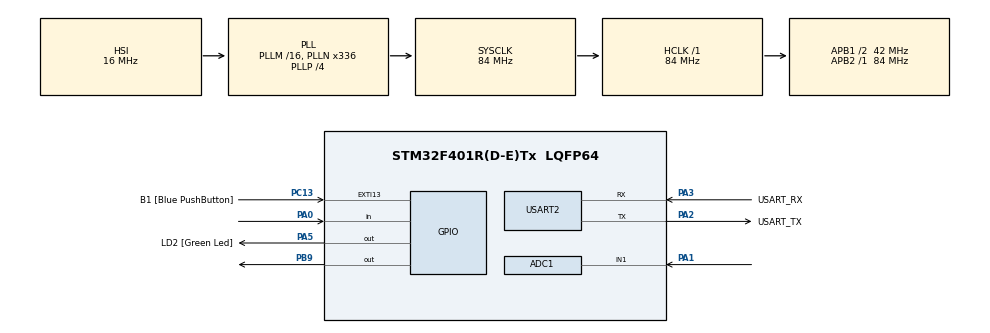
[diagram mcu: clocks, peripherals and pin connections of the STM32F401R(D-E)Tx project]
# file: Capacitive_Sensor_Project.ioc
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ADC1.Channel-0\#ChannelRegularConversion=ADC_CHANNEL_1
ADC1.NbrOfConversionFlag=1
ADC1.Rank-0\#ChannelRegularConversion=1
ADC1.SamplingTime-0\#ChannelRegularConversion=ADC_SAMPLETIME_3CYCLES
ADC1.master=1
Mcu.Family=STM32F4
Mcu.Name=STM32F401R(D-E)Tx
Mcu.Package=LQFP64
NVIC.PriorityGroup=NVIC_PRIORITYGROUP_0
PA0-WKUP.Signal=GPIO_Input
PA1.Signal=ADCx_IN1
PA13.GPIO_Label=TMS
PA13.Mode=Serial_Wire
PA13.Signal=SYS_JTMS-SWDIO
PA14.GPIO_Label=TCK
PA14.Mode=Serial_Wire
PA14.Signal=SYS_JTCK-SWCLK
PA2.GPIO_Label=USART_TX
PA2.GPIO_Mode=GPIO_MODE_AF_PP
PA2.GPIO_PuPd=GPIO_NOPULL
PA2.GPIO_Speed=GPIO_SPEED_FREQ_LOW
PA2.Mode=Asynchronous
PA2.Signal=USART2_TX
PA3.GPIO_Label=USART_RX
PA3.GPIO_Mode=GPIO_MODE_AF_PP
PA3.GPIO_PuPd=GPIO_NOPULL
PA3.GPIO_Speed=GPIO_SPEED_FREQ_LOW
PA3.Mode=Asynchronous
PA3.Signal=USART2_RX
PA5.GPIO_Label=LD2 [Green Led]
PA5.GPIO_Mode=GPIO_MODE_OUTPUT_PP
PA5.GPIO_PuPd=GPIO_NOPULL
PA5.GPIO_Speed=GPIO_SPEED_FREQ_LOW
PA5.Signal=GPIO_Output
PB3.GPIO_Label=SWO
PB3.Signal=SYS_JTDO-SWO
PB9.Signal=GPIO_Output
PC13-ANTI_TAMP.GPIO_Label=B1 [Blue PushButton]
PC13-ANTI_TAMP.GPIO_ModeDefaultEXTI=GPIO_MODE_IT_FALLING
PC13-ANTI_TAMP.GPIO_PuPd=GPIO_NOPULL
PC13-ANTI_TAMP.Signal=GPXTI13
PC14-OSC32_IN.Mode=LSE-External-Oscillator
PC14-OSC32_IN.Signal=RCC_OSC32_IN
PC15-OSC32_OUT.Mode=LSE-External-Oscillator
PC15-OSC32_OUT.Signal=RCC_OSC32_OUT
PH0\ -\ OSC_IN.Mode=HSE-External-Clock-Source
PH0\ -\ OSC_IN.Signal=RCC_OSC_IN
PH1\ -\ OSC_OUT.Mode=HSE-External-Clock-Source
PH1\ -\ OSC_OUT.Signal=RCC_OSC_OUT
ProjectManager.HeapSize=0x200
ProjectManager.StackSize=0x400
ProjectManager.TargetToolchain=STM32CubeIDE
RCC.48MHZClocksFreq_Value=48000000
RCC.AHBFreq_Value=84000000
RCC.APB1CLKDivider=RCC_HCLK_DIV2
RCC.APB1Freq_Value=42000000
RCC.APB1TimFreq_Value=84000000
RCC.APB2Freq_Value=84000000
RCC.APB2TimFreq_Value=84000000
RCC.CortexFreq_Value=84000000
RCC.HCLKFreq_Value=84000000
RCC.HSE_VALUE=8000000
RCC.HSI_VALUE=16000000
RCC.PLLN=336
RCC.PLLP=RCC_PLLP_DIV4
RCC.PLLQ=7
RCC.SYSCLKFreq_VALUE=84000000
RCC.SYSCLKSource=RCC_SYSCLKSOURCE_PLLCLK
RCC.VCOOutputFreq_Value=336000000
SH.ADCx_IN1.0=ADC1_IN1,IN1
USART2.VirtualMode=VM_ASYNC
board=NUCLEO-F401RE

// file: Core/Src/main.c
/* USER CODE BEGIN Header */
/**
  ******************************************************************************
  * @file           : main.c
  * @brief          : Main program body
  ******************************************************************************
  * @attention
  *
  * Copyright (c) 2025 STMicroelectronics.
  * All rights reserved.
  *
  * This software is licensed under terms that can be found in the LICENSE file
  * in the root directory of this software component.
  * If no LICENSE file comes with this software, it is provided AS-IS.
  *
  ******************************************************************************
  */
/* USER CODE END Header */
#include "main.h"
#include <math.h>
#include <stdio.h>

ADC_HandleTypeDef hadc1;

UART_HandleTypeDef huart2;

/* USER CODE BEGIN PV */
#define V_REF 3.3
#define ADC_MAX 4095.0
#define R_DISCHARGE 1000000.0  // 1MΩ
#define CHARGE_TIME 500  // Charge time in microseconds
/* USER CODE END PV */

void SystemClock_Config(void);
static void MX_GPIO_Init(void);
static void MX_USART2_UART_Init(void);
static void MX_ADC1_Init(void);
/* USER CODE BEGIN PFP */
//void capacitive_input(void);
double get_adc_voltage();
double measure_capacitance();

/* USER CODE END PFP */

int main(void)
{

  /* MCU Configuration--------------------------------------------------------*/

  /* Reset of all peripherals, Initializes the Flash interface and the Systick. */
  HAL_Init();

  /* Configure the system clock */
  SystemClock_Config();

  /* Initialize all configured peripherals */
  MX_GPIO_Init();
  MX_USART2_UART_Init();
  MX_ADC1_Init();

  /* Infinite loop */
  while (1)
  {
	    double capacitance = measure_capacitance();

	    // Print capacitance
//	    50 * pow(10, -12.0)
	    if (capacitance > 1){
	        HAL_GPIO_WritePin(GPIOB, GPIO_PIN_9, GPIO_PIN_SET);
	    } else {
	        HAL_GPIO_WritePin(GPIOB, GPIO_PIN_9, GPIO_PIN_RESET);
	    }

	    HAL_Delay(500);
  }
}

void SystemClock_Config(void)
{
  RCC_OscInitTypeDef RCC_OscInitStruct = {0};
  RCC_ClkInitTypeDef RCC_ClkInitStruct = {0};

  /** Configure the main internal regulator output voltage
  */
  __HAL_RCC_PWR_CLK_ENABLE();
  __HAL_PWR_VOLTAGESCALING_CONFIG(PWR_REGULATOR_VOLTAGE_SCALE2);

  /** Initializes the RCC Oscillators according to the specified parameters
  * in the RCC_OscInitTypeDef structure.
  */
  RCC_OscInitStruct.OscillatorType = RCC_OSCILLATORTYPE_HSI;
  RCC_OscInitStruct.HSIState = RCC_HSI_ON;
  RCC_OscInitStruct.HSICalibrationValue = RCC_HSICALIBRATION_DEFAULT;
  RCC_OscInitStruct.PLL.PLLState = RCC_PLL_ON;
  RCC_OscInitStruct.PLL.PLLSource = RCC_PLLSOURCE_HSI;
  RCC_OscInitStruct.PLL.PLLM = 16;
  RCC_OscInitStruct.PLL.PLLN = 336;
  RCC_OscInitStruct.PLL.PLLP = RCC_PLLP_DIV4;
  RCC_OscInitStruct.PLL.PLLQ = 7;
  if (HAL_RCC_OscConfig(&RCC_OscInitStruct) != HAL_OK)
  {
    Error_Handler();
  }

  /** Initializes the CPU, AHB and APB buses clocks
  */
  RCC_ClkInitStruct.ClockType = RCC_CLOCKTYPE_HCLK|RCC_CLOCKTYPE_SYSCLK
                              |RCC_CLOCKTYPE_PCLK1|RCC_CLOCKTYPE_PCLK2;
  RCC_ClkInitStruct.SYSCLKSource = RCC_SYSCLKSOURCE_PLLCLK;
  RCC_ClkInitStruct.AHBCLKDivider = RCC_SYSCLK_DIV1;
  RCC_ClkInitStruct.APB1CLKDivider = RCC_HCLK_DIV2;
  RCC_ClkInitStruct.APB2CLKDivider = RCC_HCLK_DIV1;

  if (HAL_RCC_ClockConfig(&RCC_ClkInitStruct, FLASH_LATENCY_2) != HAL_OK)
  {
    Error_Handler();
  }
}

static void MX_ADC1_Init(void)
{

  ADC_ChannelConfTypeDef sConfig = {0};

  /** Configure the global features of the ADC (Clock, Resolution, Data Alignment and number of conversion)
  */
  hadc1.Instance = ADC1;
  hadc1.Init.ClockPrescaler = ADC_CLOCK_SYNC_PCLK_DIV4;
  hadc1.Init.Resolution = ADC_RESOLUTION_12B;
  hadc1.Init.ScanConvMode = DISABLE;
  hadc1.Init.ContinuousConvMode = DISABLE;
  hadc1.Init.DiscontinuousConvMode = DISABLE;
  hadc1.Init.ExternalTrigConvEdge = ADC_EXTERNALTRIGCONVEDGE_NONE;
  hadc1.Init.ExternalTrigConv = ADC_SOFTWARE_START;
  hadc1.Init.DataAlign = ADC_DATAALIGN_RIGHT;
  hadc1.Init.NbrOfConversion = 1;
  hadc1.Init.DMAContinuousRequests = DISABLE;
  hadc1.Init.EOCSelection = ADC_EOC_SINGLE_CONV;
  if (HAL_ADC_Init(&hadc1) != HAL_OK)
  {
    Error_Handler();
  }

  /** Configure for the selected ADC regular channel its corresponding rank in the sequencer and its sample time.
  */
  sConfig.Channel = ADC_CHANNEL_1;
  sConfig.Rank = 1;
  sConfig.SamplingTime = ADC_SAMPLETIME_3CYCLES;
  if (HAL_ADC_ConfigChannel(&hadc1, &sConfig) != HAL_OK)
  {
    Error_Handler();
  }

}

static void MX_USART2_UART_Init(void)
{

  huart2.Instance = USART2;
  huart2.Init.BaudRate = 115200;
  huart2.Init.WordLength = UART_WORDLENGTH_8B;
  huart2.Init.StopBits = UART_STOPBITS_1;
  huart2.Init.Parity = UART_PARITY_NONE;
  huart2.Init.Mode = UART_MODE_TX_RX;
  huart2.Init.HwFlowCtl = UART_HWCONTROL_NONE;
  huart2.Init.OverSampling = UART_OVERSAMPLING_16;
  if (HAL_UART_Init(&huart2) != HAL_OK)
  {
    Error_Handler();
  }

}

static void MX_GPIO_Init(void)
{
  GPIO_InitTypeDef GPIO_InitStruct = {0};

  /* GPIO Ports Clock Enable */
  __HAL_RCC_GPIOC_CLK_ENABLE();
  __HAL_RCC_GPIOH_CLK_ENABLE();
  __HAL_RCC_GPIOA_CLK_ENABLE();
  __HAL_RCC_GPIOB_CLK_ENABLE();

  /*Configure GPIO pin Output Level */
  HAL_GPIO_WritePin(LD2_GPIO_Port, LD2_Pin, GPIO_PIN_RESET);

  /*Configure GPIO pin Output Level */
  HAL_GPIO_WritePin(GPIOB, GPIO_PIN_9, GPIO_PIN_RESET);

  /*Configure GPIO pin : B1_Pin */
  GPIO_InitStruct.Pin = B1_Pin;
  GPIO_InitStruct.Mode = GPIO_MODE_IT_FALLING;
  GPIO_InitStruct.Pull = GPIO_NOPULL;
  HAL_GPIO_Init(B1_GPIO_Port, &GPIO_InitStruct);

  /*Configure GPIO pin : PA0 */
  GPIO_InitStruct.Pin = GPIO_PIN_0;
  GPIO_InitStruct.Mode = GPIO_MODE_INPUT;
  GPIO_InitStruct.Pull = GPIO_NOPULL;
  HAL_GPIO_Init(GPIOA, &GPIO_InitStruct);

  /*Configure GPIO pin : LD2_Pin */
  GPIO_InitStruct.Pin = LD2_Pin;
  GPIO_InitStruct.Mode = GPIO_MODE_OUTPUT_PP;
  GPIO_InitStruct.Pull = GPIO_NOPULL;
  GPIO_InitStruct.Speed = GPIO_SPEED_FREQ_LOW;
  HAL_GPIO_Init(LD2_GPIO_Port, &GPIO_InitStruct);

  /*Configure GPIO pin : PB9 */
  GPIO_InitStruct.Pin = GPIO_PIN_9;
  GPIO_InitStruct.Mode = GPIO_MODE_OUTPUT_PP;
  GPIO_InitStruct.Pull = GPIO_NOPULL;
  GPIO_InitStruct.Speed = GPIO_SPEED_FREQ_LOW;
  HAL_GPIO_Init(GPIOB, &GPIO_InitStruct);

}

/* USER CODE BEGIN 4 */
void capacitive_input() {
    uint32_t adcValue = 0;
    uint32_t samples = 10; // Number of samples for averaging

    for (int i = 0; i < samples; i++) {
        HAL_ADC_Start(&hadc1);
        if (HAL_ADC_PollForConversion(&hadc1, HAL_MAX_DELAY) == HAL_OK) {
            adcValue += HAL_ADC_GetValue(&hadc1);
        }
        HAL_ADC_Stop(&hadc1);
    }

    adcValue /= samples; // Compute the average
    printf("ADC Value: %lu\n", adcValue);

    if (adcValue > 500) {
        HAL_GPIO_WritePin(GPIOB, GPIO_PIN_9, GPIO_PIN_SET);
    } else {
        HAL_GPIO_WritePin(GPIOB, GPIO_PIN_9, GPIO_PIN_RESET);
    }

}

double get_adc_voltage() {
    HAL_ADC_Start(&hadc1);
    HAL_ADC_PollForConversion(&hadc1, HAL_MAX_DELAY);
    uint32_t adcValue = HAL_ADC_GetValue(&hadc1);
    HAL_ADC_Stop(&hadc1);

    return (adcValue / ADC_MAX) * V_REF;
}

double measure_capacitance() {
    double Vi = V_REF;
    double Vf = 0.0;
    double Vt;
    uint32_t start_time = HAL_GetTick();  // Start time (ms)

    // Charge the capacitor
    HAL_GPIO_WritePin(GPIOA, GPIO_PIN_0, GPIO_PIN_SET);  // PA0 HIGH
    HAL_Delay(CHARGE_TIME);  // Charge for a short time
    HAL_GPIO_WritePin(GPIOA, GPIO_PIN_0, GPIO_PIN_RESET);  // PA0 LOW (discharge)

    // Measure discharge voltage
    while (1) {
        Vt = get_adc_voltage();
        if (Vt < Vi * 0.37) break;  // Stop when Vt drops to 37% of Vi
    }

    uint32_t t_discharge = HAL_GetTick() - start_time;  // Time elapsed

    if (Vt <= Vf) return 0.0;  // Avoid errors

    double capacitance = -((double)t_discharge / 1000.0) / (R_DISCHARGE * log((Vt - Vf) / (Vi - Vf)));
    return capacitance * 1e6;  // Convert to microfarads
}

/* USER CODE END 4 */

void Error_Handler(void)
{
  __disable_irq();
  while (1)
  {
  }
}
